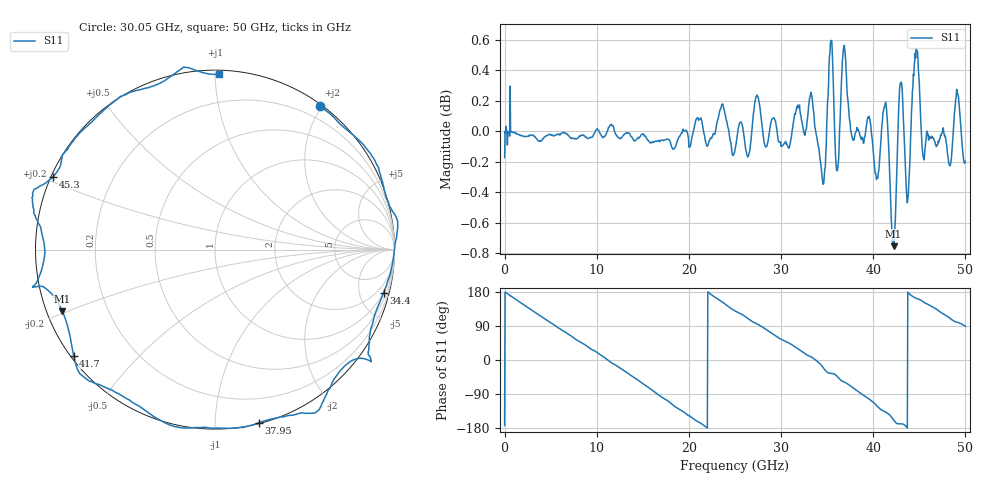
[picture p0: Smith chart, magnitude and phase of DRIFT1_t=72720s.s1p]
!Created with skrf (http://scikit-rf.org).
# Hz S RI R 50.0
!freq ReS11 ImS11
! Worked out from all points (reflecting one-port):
!   1001 points, 300 kHz to 50 GHz, reference 50 ohm
!   lowest |S11| = -0.8 dB at 42.2 GHz (marker M1), VSWR 23.07, Z = 2.25 - j9.69 ohm
!   phase of S11 starts at -173 deg and turns -818 deg over the sweep
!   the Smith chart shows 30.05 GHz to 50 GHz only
!   S11 on the Smith chart (normalised r, x): 30.05 GHz: 0.03, +1.97; 34.4 GHz: 0.98, -7.80; 37.95 GHz: 0.01, -1.28; 41.7 GHz: 0.01, -0.33; 45.3 GHz: 0.01, +0.21; 50 GHz: 0.02, +1.02
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300000  -0.9727 -0.1222
1.450291e9  -0.9124 0.4039
3.25028e9  -0.593 0.8001
6.250262e9  0.1987 0.9787
9.500243e9  0.8877 0.451
1.250022e10  0.9305 -0.3518
1.580021e10  0.242 -0.9613
1.74002e10  -0.2234 -0.968
1.875019e10  -0.5986 -0.7924
2.165017e10  -0.9909 -0.1211
2.345016e10  -0.9301 0.4123
2.500015e10  -0.6272 0.7613
2.745014e10  -0.0831 1.023
3.005012e10  0.5837 0.7985
3.125011e10  0.7814 0.6271
3.31501e10  1.012 0.1735
3.440009e10  0.9389 -0.2409
3.520009e10  0.8639 -0.5973
3.750008e10  0.3776 -0.9325
3.795007e10  0.2442 -0.9644
3.960006e10  -0.2392 -0.9814
4.170005e10  -0.7878 -0.5906
4.220005e10  -0.8503 -0.3431
4.290004e10  -1.014 -0.2105
4.375004e10  -0.9503 0.0133
4.530003e10  -0.9012 0.4062
4.765001e10  -0.5119 0.8579
5e10  0.0197 0.9775
